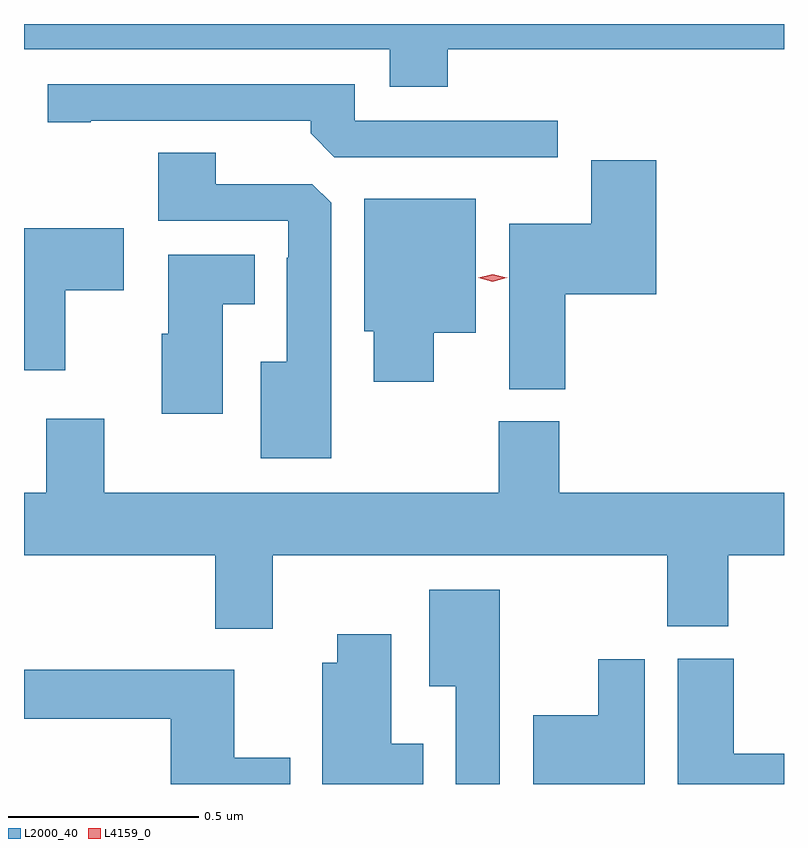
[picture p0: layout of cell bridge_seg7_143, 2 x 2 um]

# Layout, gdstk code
import gdstk
lib = gdstk.Library(unit=1e-6, precision=1e-09)
def P(c, l, *ps):  # polygons
    for p in ps: c.add(gdstk.Polygon(p, *l))
L2000_40 = (2000, 40)
L4159_0 = (4159, 0)

bridge_seg7_143 = lib.new_cell('bridge_seg7_143')
P(bridge_seg7_143, L2000_40, [(726.848,1048.568),(727.733,1048.568),(727.733,1048.634),(725.733,1048.634),(725.733,1048.568),(726.695,1048.568),(726.695,1048.469),(726.848,1048.469)],
  [(727.138,1048.38),(726.603,1048.38),(726.603,1048.476),(725.796,1048.476),(725.796,1048.375),(725.908,1048.375),(725.908,1048.38),(726.488,1048.38),(726.488,1048.346),(726.549,1048.284),(727.138,1048.284)],
  [(726.541,1048.163),(726.492,1048.212),(726.238,1048.212),(726.238,1048.295),(726.086,1048.295),(726.086,1048.116),(726.429,1048.116),(726.429,1048.019),(726.425,1048.019),(726.425,1047.745),(726.356,1047.745),(726.356,1047.491),(726.541,1047.491)],
  [(727.157,1047.923),(727.397,1047.923),(727.397,1048.276),(727.226,1048.276),(727.226,1048.108),(727.01,1048.108),(727.01,1047.673),(727.157,1047.673)],
  [(726.811,1047.821),(726.922,1047.821),(726.922,1048.174),(726.629,1048.174),(726.629,1047.825),(726.653,1047.825),(726.653,1047.693),(726.811,1047.693)],
  [(725.842,1047.934),(725.995,1047.934),(725.995,1048.096),(725.733,1048.096),(725.733,1047.723),(725.842,1047.723)],
  [(726.256,1047.896),(726.34,1047.896),(726.34,1048.027),(726.113,1048.027),(726.113,1047.819),(726.095,1047.819),(726.095,1047.609),(726.256,1047.609)],
  [(726.388,1047.236),(727.426,1047.236),(727.426,1047.049),(727.586,1047.049),(727.586,1047.236),(727.733,1047.236),(727.733,1047.4),(727.142,1047.4),(727.142,1047.588),(726.982,1047.588),(726.982,1047.4),(725.944,1047.4),(725.944,1047.595),(725.792,1047.595),(725.792,1047.4),(725.733,1047.4),(725.733,1047.236),(726.236,1047.236),(726.236,1047.042),(726.388,1047.042)],
  [(726.985,1047.145),(726.8,1047.145),(726.8,1046.891),(726.869,1046.891),(726.869,1046.634),(726.985,1046.634)],
  [(726.784,1046.74),(726.7,1046.74),(726.7,1047.028),(726.557,1047.028),(726.557,1046.953),(726.518,1046.953),(726.518,1046.634),(726.784,1046.634)],
  [(727.733,1046.713),(727.601,1046.713),(727.601,1046.964),(727.454,1046.964),(727.454,1046.634),(727.733,1046.634)],
  [(727.366,1046.962),(727.244,1046.962),(727.244,1046.815),(727.073,1046.815),(727.073,1046.634),(727.366,1046.634)],
  [(726.433,1046.703),(726.286,1046.703),(726.286,1046.935),(725.733,1046.935),(725.733,1046.806),(726.119,1046.806),(726.119,1046.634),(726.433,1046.634)])
P(bridge_seg7_143, L4159_0, [(726.967,1047.956),(726.929,1047.966),(726.929,1047.966),(726.929,1047.966),(726.967,1047.976),(727.004,1047.966),(727.005,1047.966),(727.004,1047.966)])

lib.write_gds('bridge_seg7_143.gds')
